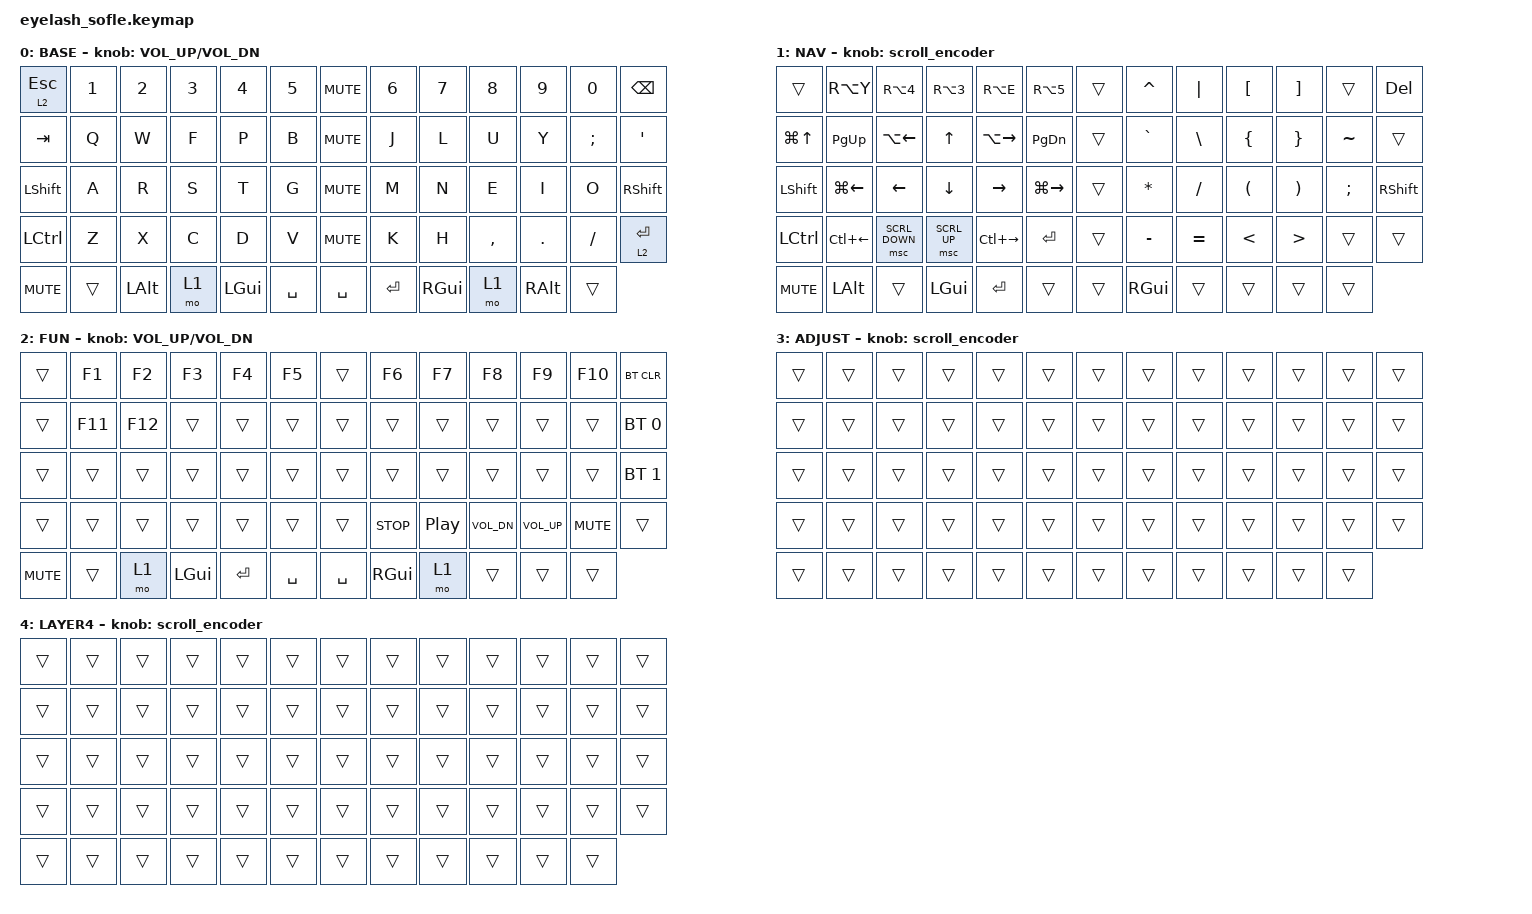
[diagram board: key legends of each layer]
#define ZMK_POINTING_DEFAULT_MOVE_VAL 1200  // 600
#define ZMK_POINTING_DEFAULT_SCRL_VAL 25   // 10

#include <input/processors.dtsi>
#include <zephyr/dt-bindings/input/input-event-codes.h>
#include <behaviors.dtsi>
#include <dt-bindings/zmk/bt.h>
#include <dt-bindings/zmk/keys.h>
#include <dt-bindings/zmk/pointing.h>

&mmv_input_listener { input-processors = <&zip_xy_scaler 2 1>; };

&msc_input_listener { input-processors = <&zip_scroll_scaler 2 1>; };

&msc {
    acceleration-exponent = <1>;
    time-to-max-speed-ms = <100>;
    delay-ms = <0>;
};

&mmv {
    time-to-max-speed-ms = <500>;
    acceleration-exponent = <1>;
    trigger-period-ms = <16>;
};

&soft_off { hold-time-ms = <2000>; };

/ {
    scroll_encoder: scroll_encoder {
        compatible = "zmk,behavior-sensor-rotate";
        #sensor-binding-cells = <0>;
        bindings = <&msc SCRL_DOWN>, <&msc SCRL_UP>;

        tap-ms = <100>;
    };

    behaviors {
        // tap=key, hold=layer — tap-preferred so fast taps are never swallowed

        lt_fun: lt_fun {
            compatible = "zmk,behavior-hold-tap";
            #binding-cells = <2>;
            tapping-term-ms = <200>;
            quick-tap-ms = <150>;
            flavor = "tap-preferred";
            bindings = <&mo>, <&kp>;
        };
    };

    combos {
        compatible = "zmk,combos";

        // Q + S + Z held → deep sleep
    };

    conditional_layers {
        compatible = "zmk,conditional-layers";

        tri_layer {
            if-layers = <1 2>;
            then-layer = <3>;
        };
    };

    keymap {
        compatible = "zmk,keymap";

        // ==============================================================
        // Layer 0 — BASE (Colemak DH)
        // ==============================================================
        //
        // Row 0:  ESC/Fn  1   2   3   4   5  [ENC]   6   7   8   9   0  BSPC
        // Row 1:  TAB     Q   W   F   P   B  [ENC]   J   L   U   Y   ;   '
        // Row 2:  LSHFT   A   R   S   T   G  [ENC]   M   N   E   I   O  RSHFT
        // Row 3:  LCTRL   Z   X   C   D   V  [ENC]   K   H   ,   .   /  -/Fn
        // Thumb:  C_MUTE  LALT  NAV  LGUI  SPC      RET  RGUI  NAV  FUN  DEL
        //
        // Thumb: [ENC/C_MUTE] LALT  NAV  LGUI  SPC  |  RET  RGUI  NAV  FUN  DEL
        //        ^^^^^^^^^^^^ — encoder tap binding (left), rightmost = DEL

        layer0 {
            bindings = <
&lt_fun 2 ESC  &kp N1  &kp N2    &kp N3  &kp N4        &kp N5       &kp C_MUTE  &kp N6     &kp N7    &kp N8     &kp N9    &kp N0    &kp BSPC
&kp TAB        &kp Q   &kp W     &kp F   &kp P         &kp B        &kp C_MUTE  &kp J      &kp L     &kp U      &kp Y     &kp SEMI  &kp SQT
&kp LSHFT      &kp A   &kp R     &kp S   &kp T         &kp G        &kp C_MUTE  &kp M      &kp N     &kp E      &kp I     &kp O     &kp RSHFT
&kp LCTRL      &kp Z   &kp X     &kp C   &kp D         &kp V        &kp C_MUTE  &kp K      &kp H     &kp COMMA  &kp DOT   &kp FSLH  &lt_fun 2 RETURN
&kp C_MUTE     &trans  &kp LALT  &mo 1   &kp LEFT_GUI  &kp SPACE    &kp SPACE   &kp ENTER  &kp RGUI  &mo 1      &kp RALT  &trans
            >;

            sensor-bindings = <&inc_dec_kp C_VOLUME_UP C_VOL_DN>;
            display-name = "BASE";
        };

        // ==============================================================
        // Layer 1 — NAV / SYM
        // ==============================================================
        //
        // Row 0:  ---   ¥   ¢   £   €   ‰  [ENC]   ^   |   [   ]   §  DEL
        // Row 1:  BOD  PGUP W←   ↑  →W PGDN [ENC]   ß   \   {   }   ~  EOD
        // Row 2:  LSFT BOL  ←   ↓   →  EOL [ENC]   `   /   (   )   ;  RSFT
        // Row 3:  CTRL <D  ↑Sc ↓Sc  D>  ↵  [ENC]   *   =   <   >  ---  ---
        // Thumb:  C_MUTE  LALT  ---  LGUI  RET      ---  RGUI  ---  ---  ---
        //
        // macOS navigation:
        //   W← / →W = Option+Left/Right — poprzednie/następne słowo
        //   BOL/EOL = Cmd+Left/Right    — początek/koniec linii
        //   BOD/EOD = Cmd+Up/Down       — początek/koniec dokumentu
        //   <D / D> = Ctrl+Left/Right   — poprzedni/następny desktop (Spaces)
        //
        // Currency (zweryfikuj w Keyboard Viewer na macOS Polish Pro):
        //   ¥=RA(Y)  ¢=RA(N4)  £=RA(N3)  €=RA(E)  ‰=RA(N5)  §=RA(N6)

        layer_1 {
            bindings = <
&trans      &kp RA(Y)     &kp RA(N4)      &kp RA(N3)    &kp RA(E)      &kp RA(N5)       &trans  &kp CARET  &kp PIPE   &kp LBKT  &kp RBKT  &trans     &kp DEL
&kp LG(UP)  &kp PG_UP     &kp LA(LEFT)    &kp UP        &kp LA(RIGHT)  &kp PG_DN        &trans  &kp GRAVE  &kp BSLH   &kp LBRC  &kp RBRC  &kp TILDE  &trans
&kp LSHFT   &kp LG(LEFT)  &kp LEFT        &kp DOWN      &kp RIGHT      &kp LG(RIGHT)    &trans  &kp STAR   &kp FSLH   &kp LPAR  &kp RPAR  &kp SEMI   &kp RSHFT
&kp LCTRL   &kp LC(LEFT)  &msc SCRL_DOWN  &msc SCRL_UP  &kp LC(RIGHT)  &kp RET          &trans  &kp MINUS  &kp EQUAL  &kp LT    &kp GT    &trans     &trans
&kp C_MUTE  &kp LALT      &trans          &kp LGUI      &kp RET        &trans           &trans  &kp RGUI   &trans     &trans    &trans    &trans
            >;

            sensor-bindings = <&scroll_encoder>;
            display-name = "NAV";
        };

        // ==============================================================
        // Layer 2 — FUN  (F-keys, Media, Bluetooth, RGB)
        // ==============================================================
        //
        // Row 0:  ---  F1  F2   F3   F4  F5  [ENC]  F6  F7   F8   F9  F10  BTCLR
        // Row 1:  --- F11 F12   <D   D>  --  [ENC]  --  --   --   --   --  BT 0
        // Row 2:  --- SCR  --   --   --  --  [ENC]  --  --   --   --   --  BT 1
        // Row 3:  ---  -- RST  BOT   --  --  [ENC]  ⏹  ⏸   🔉   🔊  🔇  BT 2
        // Thumb:  C_MUTE  ---  NAV  LGUI  RET       SPC  RGUI  NAV  ---  ---

        layer_2 {
            bindings = <
&trans      &kp F1   &kp F2   &kp F3    &kp F4   &kp F5       &trans     &kp F6      &kp F7    &kp F8        &kp F9        &kp F10     &bt BT_CLR
&trans      &kp F11  &kp F12  &trans    &trans   &trans       &trans     &trans      &trans    &trans        &trans        &trans      &bt BT_SEL 0
&trans      &trans   &trans   &trans    &trans   &trans       &trans     &trans      &trans    &trans        &trans        &trans      &bt BT_SEL 1
&trans      &trans   &trans   &trans    &trans   &trans       &trans     &kp C_STOP  &kp C_PP  &kp C_VOL_DN  &kp C_VOL_UP  &kp C_MUTE  &trans
&kp C_MUTE  &trans   &mo 1    &kp LGUI  &kp RET  &kp SPACE    &kp SPACE  &kp RGUI    &mo 1     &trans        &trans        &trans
            >;

            sensor-bindings = <&inc_dec_kp C_VOLUME_UP C_VOL_DN>;
            display-name = "FUN";
        };

        // ==============================================================
        // Layer 3 — ADJUST  (tri-layer: NAV + FUN jednocześnie)
        // ==============================================================

        layer_3 {
            bindings = <
&trans  &trans  &trans  &trans  &trans  &trans    &trans  &trans  &trans  &trans  &trans  &trans  &trans
&trans  &trans  &trans  &trans  &trans  &trans    &trans  &trans  &trans  &trans  &trans  &trans  &trans
&trans  &trans  &trans  &trans  &trans  &trans    &trans  &trans  &trans  &trans  &trans  &trans  &trans
&trans  &trans  &trans  &trans  &trans  &trans    &trans  &trans  &trans  &trans  &trans  &trans  &trans
&trans  &trans  &trans  &trans  &trans  &trans    &trans  &trans  &trans  &trans  &trans  &trans
            >;

            display-name = "ADJUST";
            sensor-bindings = <&scroll_encoder>;
        };

        layer_4 {
            bindings = <
&trans  &trans  &trans  &trans  &trans  &trans    &trans  &trans  &trans  &trans  &trans  &trans  &trans
&trans  &trans  &trans  &trans  &trans  &trans    &trans  &trans  &trans  &trans  &trans  &trans  &trans
&trans  &trans  &trans  &trans  &trans  &trans    &trans  &trans  &trans  &trans  &trans  &trans  &trans
&trans  &trans  &trans  &trans  &trans  &trans    &trans  &trans  &trans  &trans  &trans  &trans  &trans
&trans  &trans  &trans  &trans  &trans  &trans    &trans  &trans  &trans  &trans  &trans  &trans
            >;

            display-name = "LAYER4";
            sensor-bindings = <&scroll_encoder>;
        };
    };
};
